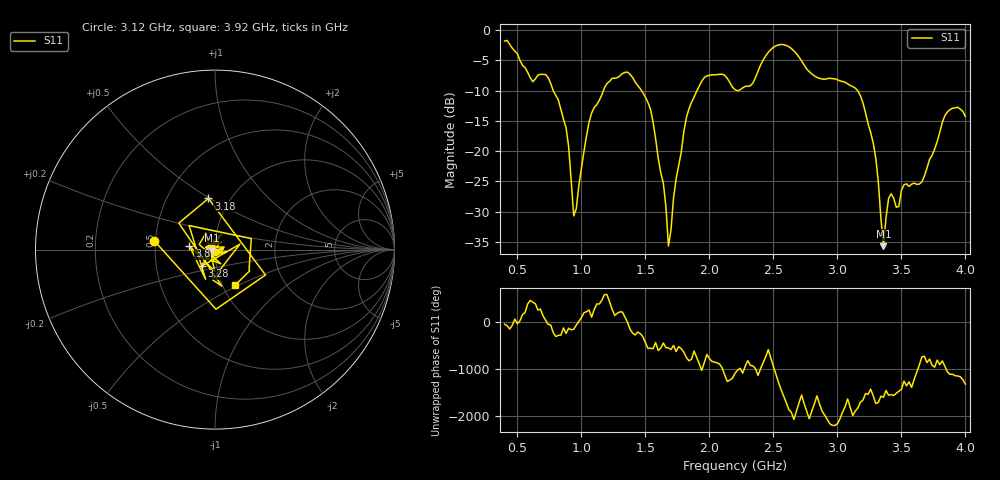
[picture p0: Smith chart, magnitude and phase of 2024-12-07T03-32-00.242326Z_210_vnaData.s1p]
!Created with skrf (http://scikit-rf.org).
# Hz S RI R 50.0
!freq ReS11 ImS11
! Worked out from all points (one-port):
!   181 points, 400 MHz to 4 GHz, reference 50 ohm
!   lowest |S11| = -35.7 dB at 3.36 GHz (marker M1), VSWR 1.03, Z = 48.5 - j0.555 ohm
!   |S11| at or under -10 dB: 779.9 MHz to 1.172 GHz (391.7 MHz wide, 40.1 % of centre); 1.47 GHz to 1.902 GHz (432.1 MHz wide, 25.6 % of centre); 3.158 GHz to end of sweep (the widest 3 of 4)
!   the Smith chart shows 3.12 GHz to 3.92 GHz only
!   S11 on the Smith chart (normalised r, x): 3.12 GHz: 0.49, +0.05; 3.18 GHz: 0.79, +0.49; 3.28 GHz: 0.85, -0.16; 3.8 GHz: 0.75, +0.03; 3.92 GHz: 1.14, -0.48
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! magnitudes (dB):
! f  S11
! 400 MHz  -1.8
! 620 MHz  -8.5
! 740 MHz  -7.8
! 860 MHz  -14.7
! 900 MHz  -19.2
! 940 MHz  -30.7
! 1.08 GHz  -13.7
! 1.3 GHz  -7.6
! 1.54 GHz  -13.1
! 1.64 GHz  -25.3
! 1.68 GHz  -35.7
! 1.76 GHz  -22.4
! 1.82 GHz  -14.5
! 1.96 GHz  -7.8
! 2.2 GHz  -9.8
! 2.5 GHz  -2.8
! 2.66 GHz  -3.4
! 3.1 GHz  -9.1
! 3.12 GHz  -9.3
! 3.18 GHz  -10.8
! 3.28 GHz  -18.6
! 3.36 GHz  -35.7
! 3.4 GHz  -27.8
! 3.56 GHz  -25.8
! 3.66 GHz  -25.1
! 3.8 GHz  -16.9
! 3.92 GHz  -12.8
! 4 GHz  -14.3
